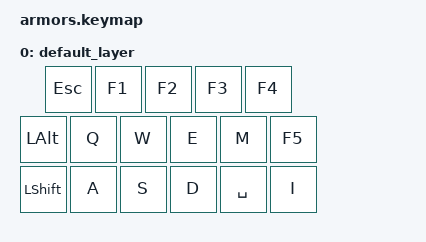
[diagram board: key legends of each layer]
/*
 * Copyright (c) 2022 The ZMK Contributors
 *
 * SPDX-License-Identifier: MIT
 */

#include <behaviors.dtsi>
#include <dt-bindings/zmk/keys.h>
#include <dt-bindings/zmk/bt.h>
#include <dt-bindings/zmk/outputs.h>

#define DEFAULT 0

/ {
    keymap {
        compatible = "zmk,keymap";

        default_layer {
            bindings = <
                    &kp ESC  &kp F1  &kp F2  &kp F3  &kp F4
                &kp LALT  &kp Q  &kp W  &kp E  &kp M  &kp F5
                &kp LSHFT  &kp A  &kp S  &kp D  &kp SPACE  &kp I
            >;
        };
    };
};
